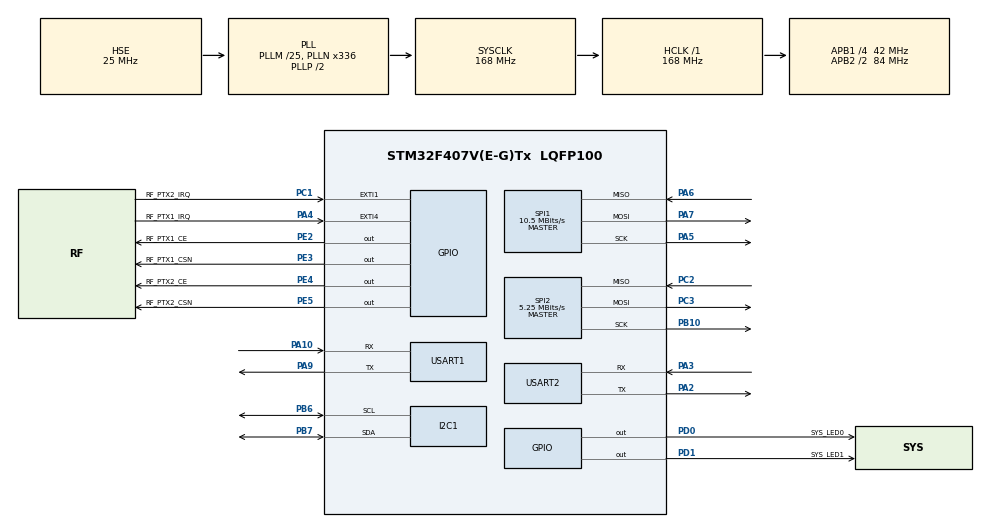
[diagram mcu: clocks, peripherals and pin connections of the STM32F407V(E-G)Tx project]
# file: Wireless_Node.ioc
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Mcu.Family=STM32F4
Mcu.Name=STM32F407V(E-G)Tx
Mcu.Package=LQFP100
NVIC.PriorityGroup=NVIC_PRIORITYGROUP_4
NVIC.TIM3_IRQn=true\:0\:0\:false\:false\:true\:true\:true\:true
PA10.Mode=Asynchronous
PA10.Signal=USART1_RX
PA13.Mode=Serial_Wire
PA13.Signal=SYS_JTMS-SWDIO
PA14.Mode=Serial_Wire
PA14.Signal=SYS_JTCK-SWCLK
PA2.Mode=Asynchronous
PA2.Signal=USART2_TX
PA3.Mode=Asynchronous
PA3.Signal=USART2_RX
PA4.GPIO_Label=RF_PTX1_IRQ
PA4.Signal=GPXTI4
PA5.Mode=Full_Duplex_Master
PA5.Signal=SPI1_SCK
PA6.Mode=Full_Duplex_Master
PA6.Signal=SPI1_MISO
PA7.Mode=Full_Duplex_Master
PA7.Signal=SPI1_MOSI
PA9.Mode=Asynchronous
PA9.Signal=USART1_TX
PB10.Mode=Full_Duplex_Master
PB10.Signal=SPI2_SCK
PB6.Mode=I2C
PB6.Signal=I2C1_SCL
PB7.Mode=I2C
PB7.Signal=I2C1_SDA
PC1.GPIO_Label=RF_PTX2_IRQ
PC1.Signal=GPXTI1
PC2.Mode=Full_Duplex_Master
PC2.Signal=SPI2_MISO
PC3.Mode=Full_Duplex_Master
PC3.Signal=SPI2_MOSI
PD0.GPIO_Label=SYS_LED0
PD0.Signal=GPIO_Output
PD1.GPIO_Label=SYS_LED1
PD1.Signal=GPIO_Output
PE2.GPIO_Label=RF_PTX1_CE
PE2.Signal=GPIO_Output
PE3.GPIO_Label=RF_PTX1_CSN
PE3.Signal=GPIO_Output
PE4.GPIO_Label=RF_PTX2_CE
PE4.Signal=GPIO_Output
PE5.GPIO_Label=RF_PTX2_CSN
PE5.Signal=GPIO_Output
PH0-OSC_IN.Mode=HSE-External-Oscillator
PH0-OSC_IN.Signal=RCC_OSC_IN
PH1-OSC_OUT.Mode=HSE-External-Oscillator
PH1-OSC_OUT.Signal=RCC_OSC_OUT
ProjectManager.HeapSize=0x200
ProjectManager.StackSize=0x400
ProjectManager.TargetToolchain=STM32CubeIDE
RCC.48MHZClocksFreq_Value=84000000
RCC.AHBFreq_Value=168000000
RCC.APB1CLKDivider=RCC_HCLK_DIV4
RCC.APB1Freq_Value=42000000
RCC.APB1TimFreq_Value=84000000
RCC.APB2CLKDivider=RCC_HCLK_DIV2
RCC.APB2Freq_Value=84000000
RCC.APB2TimFreq_Value=168000000
RCC.CortexFreq_Value=168000000
RCC.HCLKFreq_Value=168000000
RCC.HSE_VALUE=25000000
RCC.HSI_VALUE=16000000
RCC.LSE_VALUE=32768
RCC.PLLM=25
RCC.PLLN=336
RCC.PLLSourceVirtual=RCC_PLLSOURCE_HSE
RCC.SYSCLKFreq_VALUE=168000000
RCC.SYSCLKSource=RCC_SYSCLKSOURCE_PLLCLK
RCC.VCOOutputFreq_Value=336000000
SPI1.BaudRatePrescaler=SPI_BAUDRATEPRESCALER_8
SPI1.CalculateBaudRate=10.5 MBits/s
SPI1.Direction=SPI_DIRECTION_2LINES
SPI1.Mode=SPI_MODE_MASTER
SPI1.VirtualType=VM_MASTER
SPI2.BaudRatePrescaler=SPI_BAUDRATEPRESCALER_8
SPI2.CalculateBaudRate=5.25 MBits/s
SPI2.Direction=SPI_DIRECTION_2LINES
SPI2.Mode=SPI_MODE_MASTER
SPI2.VirtualType=VM_MASTER
TIM3.AutoReloadPreload=TIM_AUTORELOAD_PRELOAD_DISABLE
TIM3.ClockDivision=TIM_CLOCKDIVISION_DIV1
TIM3.Period=10000-1
TIM3.Prescaler=8400-1
USART1.VirtualMode=VM_ASYNC
USART2.VirtualMode=VM_ASYNC
VP_TIM1_VS_ClockSourceINT.Mode=Internal
VP_TIM3_VS_ClockSourceINT.Mode=Internal
board=custom

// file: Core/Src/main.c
/* USER CODE BEGIN Header */
/**
  ******************************************************************************
  * @file           : main.c
  * @brief          : Main program body
  ******************************************************************************
  * @attention
  *
  * Copyright (c) 2024 STMicroelectronics.
  * All rights reserved.
  *
  * This software is licensed under terms that can be found in the LICENSE file
  * in the root directory of this software component.
  * If no LICENSE file comes with this software, it is provided AS-IS.
  *
  ******************************************************************************
  */
/* USER CODE END Header */
#include "main.h"
#include "i2c.h"
#include "spi.h"
#include "tim.h"
#include "usart.h"
#include "gpio.h"

/* USER CODE BEGIN Includes */
#include "rf24g.h"
#include "rf24g2.h"
#include "stdio.h"
#include <string.h>
/* USER CODE END Includes */

/* USER CODE BEGIN PTD */
#ifdef __GNUC__
#define PUTCHAR_PROTOTYPE int __io_putchar(int ch)
#else
#define PUTCHAR_PROTOTYPE int fputc(int ch, FILE *f)
#endif
PUTCHAR_PROTOTYPE
{
    HAL_UART_Transmit(&huart1 , (uint8_t *)&ch, 1, 0xFFFF);
    return ch;
}
/* USER CODE END PTD */

void SystemClock_Config(void);

int main(void)
{

  /* MCU Configuration--------------------------------------------------------*/

  /* Reset of all peripherals, Initializes the Flash interface and the Systick. */
  HAL_Init();

  /* Configure the system clock */
  SystemClock_Config();

  /* Initialize all configured peripherals */
  MX_GPIO_Init();
  MX_I2C1_Init();
  MX_SPI1_Init();
  MX_SPI2_Init();
  MX_USART1_UART_Init();
  MX_USART2_UART_Init();
  MX_TIM3_Init();
  MX_TIM1_Init();
  /* USER CODE BEGIN 2 */
  HAL_TIM_Base_Start_IT(&htim3);
  HAL_GPIO_WritePin(SYS_LED0_GPIO_Port, SYS_LED0_Pin, GPIO_PIN_RESET);
  HAL_GPIO_WritePin(SYS_LED1_GPIO_Port, SYS_LED1_Pin, GPIO_PIN_SET);
  HAL_TIM_Base_Start(&htim1);

  while (NRF24L01_Check());
  printf("NRF24L01 OK!\r\n");
  NRF24L01_TX_Mode();

  while (NRF24L02_Check());
  printf("NRF24L02 OK!\r\n");
  NRF24L02_RX_Mode();

  uint8_t transmit_data[16]={"REQ"};
  uint8_t receive_buff[32];
  uint8_t n = 0;
  uint8_t flag = 1; // 收到数据为1，超时未收到数据为0
  uint32_t start_time = 0;
  uint32_t end_time = 0;
  uint32_t elapsed_cycles = 0;
  /* USER CODE END 2 */

  /* Infinite loop */
  /* USER CODE BEGIN WHILE */
  while (1)
  {
	  flag = 1;
	  __HAL_TIM_SET_COUNTER(&htim1, 0); // 计时器归零
	  start_time = __HAL_TIM_GET_COUNTER(&htim1); // 记录发送前的时钟刻
	  NRF24L01_TxPacket_Data((uint8_t *)transmit_data, 32); // 发送数据
	  while (NRF24L02_RxPacket(receive_buff) != 0 || strcmp((char *)receive_buff, "ACK") != 0) // 未收到数据或数据并非期望的字段
	  {
		  if (n++ > 99) // 99个时钟刻后仍然没有收到数据或收到指定数据，则判定为超时，不记录时间并跳出循环，进行下一次发送（重发）
		  {
			  flag = 0;
			  printf("0\n");
			  break;
		  }
	  }
	  if (flag) // 只有收到有效数据才计时
	  {
		  end_time = __HAL_TIM_GET_COUNTER(&htim1); // 记录接收到有效数据的时钟刻
		  elapsed_cycles = end_time - start_time;
		  printf("%lu\n", elapsed_cycles);
	  }
	  HAL_Delay(50);
    /* USER CODE END WHILE */

  }
}

void SystemClock_Config(void)
{
  RCC_OscInitTypeDef RCC_OscInitStruct = {0};
  RCC_ClkInitTypeDef RCC_ClkInitStruct = {0};

  /** Configure the main internal regulator output voltage
  */
  __HAL_RCC_PWR_CLK_ENABLE();
  __HAL_PWR_VOLTAGESCALING_CONFIG(PWR_REGULATOR_VOLTAGE_SCALE1);

  /** Initializes the RCC Oscillators according to the specified parameters
  * in the RCC_OscInitTypeDef structure.
  */
  RCC_OscInitStruct.OscillatorType = RCC_OSCILLATORTYPE_HSE;
  RCC_OscInitStruct.HSEState = RCC_HSE_ON;
  RCC_OscInitStruct.PLL.PLLState = RCC_PLL_ON;
  RCC_OscInitStruct.PLL.PLLSource = RCC_PLLSOURCE_HSE;
  RCC_OscInitStruct.PLL.PLLM = 25;
  RCC_OscInitStruct.PLL.PLLN = 336;
  RCC_OscInitStruct.PLL.PLLP = RCC_PLLP_DIV2;
  RCC_OscInitStruct.PLL.PLLQ = 4;
  if (HAL_RCC_OscConfig(&RCC_OscInitStruct) != HAL_OK)
  {
    Error_Handler();
  }

  /** Initializes the CPU, AHB and APB buses clocks
  */
  RCC_ClkInitStruct.ClockType = RCC_CLOCKTYPE_HCLK|RCC_CLOCKTYPE_SYSCLK
                              |RCC_CLOCKTYPE_PCLK1|RCC_CLOCKTYPE_PCLK2;
  RCC_ClkInitStruct.SYSCLKSource = RCC_SYSCLKSOURCE_PLLCLK;
  RCC_ClkInitStruct.AHBCLKDivider = RCC_SYSCLK_DIV1;
  RCC_ClkInitStruct.APB1CLKDivider = RCC_HCLK_DIV4;
  RCC_ClkInitStruct.APB2CLKDivider = RCC_HCLK_DIV2;

  if (HAL_RCC_ClockConfig(&RCC_ClkInitStruct, FLASH_LATENCY_5) != HAL_OK)
  {
    Error_Handler();
  }
}

void Error_Handler(void)
{
  __disable_irq();
  while (1)
  {
  }
}
